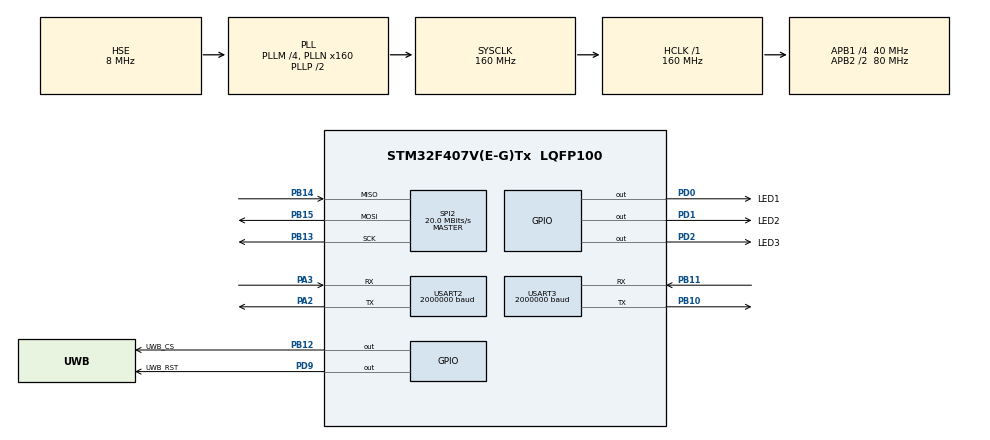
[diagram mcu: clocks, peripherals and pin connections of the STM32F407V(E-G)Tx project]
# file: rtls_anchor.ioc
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Dma.Request0=USART3_RX
Dma.USART3_RX.0.Direction=DMA_PERIPH_TO_MEMORY
Dma.USART3_RX.0.FIFOMode=DMA_FIFOMODE_DISABLE
Dma.USART3_RX.0.Instance=DMA1_Stream1
Dma.USART3_RX.0.MemDataAlignment=DMA_MDATAALIGN_BYTE
Dma.USART3_RX.0.MemInc=DMA_MINC_ENABLE
Dma.USART3_RX.0.Mode=DMA_NORMAL
Dma.USART3_RX.0.PeriphDataAlignment=DMA_PDATAALIGN_BYTE
Dma.USART3_RX.0.PeriphInc=DMA_PINC_DISABLE
Dma.USART3_RX.0.Priority=DMA_PRIORITY_LOW
Mcu.Family=STM32F4
Mcu.Name=STM32F407V(E-G)Tx
Mcu.Package=LQFP100
NVIC.DMA1_Stream1_IRQn=true\:0\:0\:false\:false\:true\:false\:true\:true
NVIC.PriorityGroup=NVIC_PRIORITYGROUP_4
NVIC.USART3_IRQn=true\:0\:0\:false\:false\:true\:true\:true\:true
PA13.Mode=Serial_Wire
PA13.Signal=SYS_JTMS-SWDIO
PA14.Mode=Serial_Wire
PA14.Signal=SYS_JTCK-SWCLK
PA2.Mode=Asynchronous
PA2.Signal=USART2_TX
PA3.Mode=Asynchronous
PA3.Signal=USART2_RX
PB10.Mode=Asynchronous
PB10.Signal=USART3_TX
PB11.Mode=Asynchronous
PB11.Signal=USART3_RX
PB12.GPIO_Label=UWB_CS
PB12.GPIO_Speed=GPIO_SPEED_FREQ_HIGH
PB12.PinState=GPIO_PIN_SET
PB12.Signal=GPIO_Output
PB13.Mode=Full_Duplex_Master
PB13.Signal=SPI2_SCK
PB14.Mode=Full_Duplex_Master
PB14.Signal=SPI2_MISO
PB15.Mode=Full_Duplex_Master
PB15.Signal=SPI2_MOSI
PD0.GPIO_Label=LED1
PD0.GPIO_ModeDefaultOutputPP=GPIO_MODE_OUTPUT_PP
PD0.GPIO_PuPd=GPIO_PULLDOWN
PD0.GPIO_Speed=GPIO_SPEED_FREQ_HIGH
PD0.PinState=GPIO_PIN_RESET
PD0.Signal=GPIO_Output
PD1.GPIO_Label=LED2
PD1.GPIO_ModeDefaultOutputPP=GPIO_MODE_OUTPUT_PP
PD1.GPIO_PuPd=GPIO_NOPULL
PD1.GPIO_Speed=GPIO_SPEED_FREQ_HIGH
PD1.PinState=GPIO_PIN_SET
PD1.Signal=GPIO_Output
PD2.GPIO_Label=LED3
PD2.GPIO_ModeDefaultOutputPP=GPIO_MODE_OUTPUT_PP
PD2.GPIO_PuPd=GPIO_NOPULL
PD2.GPIO_Speed=GPIO_SPEED_FREQ_HIGH
PD2.PinState=GPIO_PIN_SET
PD2.Signal=GPIO_Output
PD9.GPIO_Label=UWB_RST
PD9.GPIO_Speed=GPIO_SPEED_FREQ_HIGH
PD9.PinState=GPIO_PIN_SET
PD9.Signal=GPIO_Output
PH0-OSC_IN.Mode=HSE-External-Oscillator
PH0-OSC_IN.Signal=RCC_OSC_IN
PH1-OSC_OUT.Mode=HSE-External-Oscillator
PH1-OSC_OUT.Signal=RCC_OSC_OUT
ProjectManager.HeapSize=0x200
ProjectManager.StackSize=0x400
ProjectManager.TargetToolchain=STM32CubeIDE
RCC.48MHZClocksFreq_Value=80000000
RCC.AHBFreq_Value=160000000
RCC.APB1CLKDivider=RCC_HCLK_DIV4
RCC.APB1Freq_Value=40000000
RCC.APB1TimFreq_Value=80000000
RCC.APB2CLKDivider=RCC_HCLK_DIV2
RCC.APB2Freq_Value=80000000
RCC.APB2TimFreq_Value=160000000
RCC.CortexFreq_Value=160000000
RCC.HCLKFreq_Value=160000000
RCC.HSE_VALUE=8000000
RCC.HSI_VALUE=16000000
RCC.LSE_VALUE=32768
RCC.PLLM=4
RCC.PLLN=160
RCC.PLLSourceVirtual=RCC_PLLSOURCE_HSE
RCC.SYSCLKFreq_VALUE=160000000
RCC.SYSCLKSource=RCC_SYSCLKSOURCE_PLLCLK
RCC.VCOOutputFreq_Value=320000000
SPI2.BaudRatePrescaler=SPI_BAUDRATEPRESCALER_2
SPI2.CalculateBaudRate=20.0 MBits/s
SPI2.Direction=SPI_DIRECTION_2LINES
SPI2.Mode=SPI_MODE_MASTER
SPI2.VirtualType=VM_MASTER
TIM1.Period=49999
TIM1.Prescaler=319
TIM2.Period=99999
TIM2.Prescaler=79
USART2.BaudRate=2000000
USART2.VirtualMode=VM_ASYNC
USART3.BaudRate=2000000
USART3.VirtualMode=VM_ASYNC
VP_TIM1_VS_ClockSourceINT.Mode=Internal
VP_TIM2_VS_ClockSourceINT.Mode=Internal
board=custom

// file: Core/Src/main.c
/* USER CODE BEGIN Header */
/**
 ******************************************************************************
 * @file           : main.c
 * @brief          : Main program body
 ******************************************************************************
 * @attention
 *
 * Copyright (c) 2023 STMicroelectronics.
 * All rights reserved.
 *
 * This software is licensed under terms that can be found in the LICENSE file
 * in the root directory of this software component.
 * If no LICENSE file comes with this software, it is provided AS-IS.
 *
 ******************************************************************************
 */
/* USER CODE END Header */
#include "main.h"
#include "dma.h"
#include "spi.h"
#include "tim.h"
#include "usart.h"
#include "gpio.h"

/* USER CODE BEGIN Includes */
#include <stdio.h>
#include <string.h>
#include <math.h>
#include <stdlib.h>
#include <stdbool.h>
#include <stdint.h>
#include <stddef.h>
#include "decawave/dw_api.h"
#include "log/log.h"
#include "mac/mac.h"
#include "message_types.h"
#include "rtls_types.h"
#include "uart_types.h"
#include "flash_storage.h"
/* USER CODE END Includes */

/* USER CODE BEGIN PTD */
typedef struct
{
  bool anchorCfg;
  bool anchorSync;
  bool rxBufAvai;
  bool anchorSentBcn;
  uint16_t rxBufSize;
  bool anchorSfSync;
  uint8_t notSyncCnt;
  uint32_t timeSyncRecv;
  uint32_t timeSyncEnd;
  uint32_t timeOffsetStart;
  uint32_t timeOffsetEnd;
  uint8_t locCnt;
  bool kalmanInit;
  double ratio;
  uint32_t testOneCnt;
} systemHandle_t;

typedef struct
{
  uint32_t bcnStart;
  uint32_t bcnSent;
  uint32_t bcnEnd;
  uint32_t pollRecv[TWR_SLOT_TOTAL];
  uint32_t pollEnd[TWR_SLOT_TOTAL];
  uint32_t respStart[TWR_SLOT_TOTAL];
  uint32_t respSent[TWR_SLOT_TOTAL];
  uint32_t respEnd[TWR_SLOT_TOTAL];
  uint32_t locRecv[TWR_SLOT_TOTAL];
  uint32_t locEnd[TWR_SLOT_TOTAL];
  uint32_t uartStart;
  uint32_t uartEnd;
} rtlsTimes_t;
/* USER CODE END PTD */

/* USER CODE BEGIN PD */

#ifdef __GNUC__
int __io_putchar(int ch)
#else
int fputc(int ch, FILE *f)
#endif /* __GNUC__ */
{
  HAL_UART_Transmit(&huart2, (uint8_t *)&ch, 1, 1);
  return ch;
}
//#define TEST
#define DIV 1
#define RX_BEACON_TIMEOUT 600
#define RX_POLL_TIMEOUT 600
#define RX_LOC_TIMEOUT 600
#define RESP_DELAY 360
#define US_TO_DECAWAVE_TICK 63898
/* USER CODE END PD */

/* USER CODE BEGIN PV */
#ifndef TEST
uint8_t anchorBaseAddr[2];
#else
uint8_t anchorBaseAddr[2] = {0x89, 0x03};
#define X 0.0
#define Y 8.43
#endif
systemHandle_t systemHandle = {0};
myAnchorTypes_t myAnchor = {0};
rtlsTimes_t rtlsTimes = {0};

sfInfo_t superframe = {
    .bcnSlotTotal = BCN_SLOT_TOTAL,
    .twrSlotTotal = TWR_SLOT_TOTAL,
    .sfNumberTotal = SF_NUMBER_DEFAULT,
    .sfOffset = 385,
    .bcnSlotCurrent = 0,
    .sfNumberCurrent = 0,
    .twrSlotCurrent = 0,
};

dwDeviceTypes_t device = {
    .extendedFrameLength = FRAME_LENGTH_NORMAL,
    .pacSize = PAC_SIZE_8,
    .pulseFrequency = TX_PULSE_FREQ_64MHZ,
    .dataRate = TRX_RATE_6800KBPS,
    .preambleLength = TX_PREAMBLE_LEN_128,
    .preambleCode = PREAMBLE_CODE_16MHZ_4,
    .channel = CHANNEL_2,
    .smartPower = true,
    .frameCheck = true,
    .permanentReceive = false,
    .deviceMode = IDLE_MODE,
    .forceTxPower = false,
};

uint8_t rxBuffer[512] = {0};
uint8_t rxByte = 0;
int rxIndex = 0;
rxState_t rxState;
/* USER CODE END PV */

void SystemClock_Config(void);

/* USER CODE BEGIN 0 */
void dwInteruptHandler(void)
{
  // dwReadSystemEventStatusRegister(&device);
  if (dwIsTransmitDone(&device))
  {
    dwClearTransmitStatus(&device);
  }
  if (dwIsReceiveTimestampAvailable(&device))
  {
    dwClearReceiveTimestampAvailableStatus(&device);
  }
  if (dwIsReceiveFailed(&device))
  {
    dwClearReceiveStatus(&device);
    dwRxSoftReset(&device);
  }
  if (dwIsReceiveTimeout(&device))
  {
    dwClearReceiveStatus(&device);
    dwRxSoftReset(&device);
  }
  if (dwIsReceiveDone(&device))
  {
    dwClearReceiveStatus(&device);
  }
}

// void HAL_UART_RxCpltCallback(UART_HandleTypeDef *huart)
// {
//   if (rxState == WAIT_START_BYTE)
//   {
//     if (rxByte == '$')
//     {
//       rxState = WAIT_END_BYTE;
//       rxBuffer[rxIndex++] = rxByte;
//       HAL_UART_Receive_IT(&huart3, &rxByte, sizeof(rxByte));
//     }
//     else
//     {
//       memset(rxBuffer, 0, sizeof(rxBuffer));
//       rxIndex = 0;
//       HAL_UART_Receive_IT(&huart3, &rxByte, sizeof(rxByte));
//     }
//   }
//   else
//   {
//     rxBuffer[rxIndex++] = rxByte;
//     if (rxByte == '*')
//     {
//       rxState = WAIT_START_BYTE;
//       systemHandle.rxBufAvai = true;
//     }
//     else
//     {
//       HAL_UART_Receive_IT(&huart3, &rxByte, sizeof(rxByte));
//     }
//   }
// }

void HAL_UART_ErrorCallback(UART_HandleTypeDef *huart)
{
  if (huart->Instance == USART3)
  {
    HAL_UARTEx_ReceiveToIdle_DMA(&huart3, rxBuffer, sizeof(rxBuffer));
    __HAL_DMA_DISABLE_IT(&hdma_usart3_rx, DMA_IT_HT);
  }
}

void HAL_UARTEx_RxEventCallback(UART_HandleTypeDef *huart, uint16_t Size)
{
  if (huart->Instance == USART3)
  {
    systemHandle.rxBufAvai = true;
    systemHandle.rxBufSize = Size;
    HAL_UART_AbortReceive_IT(&huart3);
  }
}

int findAddress(uint8_t *str, uint8_t *sub, int n)
{
  for (int i = 0; i < n; i += 2)
  {
    if (str[i] == sub[0] && str[i + 1] == sub[1])
      return i;
  }
  return -1;
}

int formatCmd(char *info, char *header, char *data, int size)
{
  int k = strlen(header);
  for (int i = 0; i < k; i++)
  {
    info[i] = header[i];
  }
  for (int j = k; j < k + size; j++)
  {
    info[j] = data[j - k];
  }
  info[k + size] = '*';
  return k + size + 1;
}

int formatLocCmd(char *info, char *header, char *data, uint8_t cnt , int size)
{
  int k = strlen(header);
  for (int i = 0; i < k; i++)
  {
    info[i] = header[i];
  }
  for (int j = k; j < k + size; j++)
  {
    info[j] = data[j - k];
  }
  info[k + size] = cnt;
  info[k + size + 1] = '*';
  return k + size + 2;
}

bool compareString(char *src1, char *src2, int len)
{
  for (int i = 0; i < len; i++)
  {
    if (src1[i] != src2[i])
      return false;
  }
  return true;
}

int max(int a, int b)
{
	return (a > b) ? a : b;
}
/* USER CODE END 0 */

int main(void)
{
  /* USER CODE BEGIN 1 */
  beaconHandle_t beaconHandle = {0};
  pollHandle_t pollHandle = {0};
  respHandle_t respHandle = {0};
  locMess_t locMess = {0};
  packet_t beaconPacket = {0};
  packet_t pollPacket = {0};
  packet_t respPacket = {0};
  packet_t locPacket = {0};
  packet_t bufPacket = {0};

  uint32_t bcnTimes[BCN_SLOT_TOTAL] = {0};
  uint32_t twrTimes[TWR_SLOT_TOTAL] = {0};
  uint32_t uartTime = 0;

  rtls_obj_t rtls_obj = {0};
  tagLoc_t tagLoc[TWR_SLOT_TOTAL];
  char all[] = {0xff, 0xff};
  char null[] = {0x00, 0x00};
  /* USER CODE END 1 */

  /* MCU Configuration--------------------------------------------------------*/

  /* Reset of all peripherals, Initializes the Flash interface and the Systick. */
  HAL_Init();

  /* Configure the system clock */
  SystemClock_Config();

  /* Initialize all configured peripherals */
  MX_GPIO_Init();
  MX_DMA_Init();
  MX_SPI2_Init();
  MX_USART2_UART_Init();
  MX_USART3_UART_Init();
  MX_TIM1_Init();
  MX_TIM2_Init();
  /* USER CODE BEGIN 2 */
  logi("ANCHOR START");
  dwInit(&device);
  if (dwConfigure(&device) == DW_ERROR_OK)
  {
    dwEnableAllLeds(&device);
  }
  else
  {
    loge("Configure failed");
    while (1)
      ;
  }
  dwNewConfiguration(&device);
  dwSetDefaults(&device);
  dwCommitConfiguration(&device);

  for (uint32_t i = 0; i < superframe.bcnSlotTotal; i++)
  {
    bcnTimes[i] = SF_BCN_SLOT_TIME * i / DIV;
  }
  for (uint32_t j = 0; j < superframe.twrSlotTotal; j++)
  {
    twrTimes[j] = (SF_TWR_SLOT_TIME * j + SF_BCN_SLOT_TIME * superframe.bcnSlotTotal) / DIV;
  }
  uartTime = (SF_TWR_SLOT_TIME * superframe.twrSlotTotal + SF_BCN_SLOT_TIME * superframe.bcnSlotTotal) / DIV;

#ifndef TEST
  flashReadData(ADDR_FLASH_SECTOR_7, anchorBaseAddr, sizeof(anchorBaseAddr));
  Logi("Read ID: %02x%02x", anchorBaseAddr[0], anchorBaseAddr[1]);
  HAL_UARTEx_ReceiveToIdle_DMA(&huart3, rxBuffer, sizeof(rxBuffer));
  __HAL_DMA_DISABLE_IT(&hdma_usart3_rx, DMA_IT_HT);
  while (!(systemHandle.anchorCfg == true))
  {
    if (systemHandle.rxBufAvai == true)
    {
      memset(&rtls_obj, 0, sizeof(rtls_obj));
      if (strstr(rxBuffer, "id") != NULL)
      {
        Logi("ID: %02x%02x", rxBuffer[3], rxBuffer[4]);
        if (!compareString(anchorBaseAddr, &rxBuffer[3], 2))
        {
          memcpy(anchorBaseAddr, &rxBuffer[3], sizeof(anchorBaseAddr));
          flashWriteData(ADDR_FLASH_SECTOR_7, anchorBaseAddr, sizeof(anchorBaseAddr));
        }
        HAL_UART_Transmit(&huart3, (uint8_t *)rxBuffer, systemHandle.rxBufSize, 100);
      }
      if (strstr(rxBuffer, "cfg_anchor") != NULL)
      {
        Logi("cfg_anchor");
        memcpy((uint8_t *)&rtls_obj.cfg_anchor, &rxBuffer[11], sizeof(rtls_obj.cfg_anchor));
        if (compareString(rtls_obj.cfg_anchor.address, anchorBaseAddr, sizeof(anchorBaseAddr)) && rtls_obj.cfg_anchor.slot < superframe.bcnSlotTotal)
        {
          memcpy(myAnchor.anchorAddress, anchorBaseAddr, sizeof(anchorBaseAddr));
          myAnchor.bcnSlotNumber = rtls_obj.cfg_anchor.slot;
          myAnchor.x.xVal = rtls_obj.cfg_anchor.x.xVal;
          myAnchor.y.yVal = rtls_obj.cfg_anchor.y.yVal;
          myAnchor.anchorCfg = true;
          if (myAnchor.bcnSlotNumber == 0)
          {
            myAnchor.anchorMain = true;
          }
          HAL_UART_Transmit(&huart3, (uint8_t *)rxBuffer, systemHandle.rxBufSize, 100);
        }
      }
      else if (strstr(rxBuffer, "del_anchor") != NULL)
      {
        Logi("del_anchor");
        memcpy((uint8_t *)&rtls_obj.del_anchor, &rxBuffer[11], sizeof(rtls_obj.del_anchor));
        if ((compareString(rtls_obj.del_anchor.address, myAnchor.anchorAddress, sizeof(myAnchor.anchorAddress)) && rtls_obj.del_anchor.slot == myAnchor.bcnSlotNumber) || compareString(rtls_obj.del_anchor.address, all, sizeof(all)))
        {
          memset(&myAnchor, 0, sizeof(myAnchor));
          HAL_UART_Transmit(&huart3, (uint8_t *)rxBuffer, systemHandle.rxBufSize, 100);
        }
      }
      else if (strstr(rxBuffer, "cfg_superframe") != NULL)
      {
        Logi("cfg_superframe");
        memcpy((uint8_t *)&rtls_obj.cfg_sf, &rxBuffer[15], sizeof(rtls_obj.cfg_sf));
        if (compareString(rtls_obj.cfg_sf.address, anchorBaseAddr, sizeof(anchorBaseAddr)) || compareString(rtls_obj.cfg_sf.address, all, sizeof(all)))
        {
          if (rtls_obj.cfg_sf.sf_num <= 5 && rtls_obj.cfg_sf.sf_num >= 1)
          {
            superframe.sfNumberTotal = rtls_obj.cfg_sf.sf_num;
            HAL_UART_Transmit(&huart3, (uint8_t *)rxBuffer, systemHandle.rxBufSize, 100);
          }
        }
      }
      else if (strstr(rxBuffer, "start") != NULL)
      {
        Logi("start");
        if (myAnchor.anchorCfg == true)
        {
          systemHandle.anchorCfg = true;
          HAL_UART_Transmit(&huart3, (uint8_t *)rxBuffer, systemHandle.rxBufSize, 100);
        }
      }
      else if (strstr(rxBuffer, "get_info") != NULL)
      {
        Logi("get_info");
        memset(rxBuffer, 0, sizeof(rxBuffer));
        rtls_obj.info.bcnSlotTotal = superframe.bcnSlotTotal;
        rtls_obj.info.sfNumberTotal = superframe.sfNumberTotal;
        rtls_obj.info.twrSlotTotal = superframe.twrSlotTotal;
        memcpy(rtls_obj.info.anchorInfo.address, myAnchor.anchorAddress, sizeof(myAnchor.anchorAddress));
        rtls_obj.info.anchorInfo.slot = myAnchor.bcnSlotNumber;
        rtls_obj.info.anchorInfo.x.xVal = myAnchor.x.xVal;
        rtls_obj.info.anchorInfo.y.yVal = myAnchor.y.yVal;
        int len = formatCmd((char *)rxBuffer, "$get_info", (char *)&rtls_obj.info, sizeof(rtls_obj.info));
        HAL_UART_Transmit(&huart3, (uint8_t *)rxBuffer, len, 100);
      }
      memset(rxBuffer, 0, sizeof(rxBuffer));
      HAL_UARTEx_ReceiveToIdle_DMA(&huart3, rxBuffer, sizeof(rxBuffer));
      __HAL_DMA_DISABLE_IT(&hdma_usart3_rx, DMA_IT_HT);
      systemHandle.rxBufAvai = false;
    }
  }
  HAL_UARTEx_ReceiveToIdle_DMA(&huart3, rxBuffer, sizeof(rxBuffer));
  __HAL_DMA_DISABLE_IT(&hdma_usart3_rx, DMA_IT_HT);
#endif

#ifdef TEST
  myAnchor.anchorCfg = true;
  if (anchorBaseAddr[1] == 0x00)
  {
    myAnchor.anchorMain = true;
    memcpy(myAnchor.anchorAddress, anchorBaseAddr, sizeof(anchorBaseAddr));
    myAnchor.bcnSlotNumber = 0;
    myAnchor.x.xVal = X;
    myAnchor.y.yVal = Y;
  }
  else
  {
    myAnchor.anchorMain = false;
    memcpy(myAnchor.anchorAddress, anchorBaseAddr, sizeof(anchorBaseAddr));
    myAnchor.bcnSlotNumber = anchorBaseAddr[1];
    myAnchor.x.xVal = X;
    myAnchor.y.yVal = Y;
  }
#endif

  TIM2->CNT = 0;
  HAL_TIM_Base_Start(&htim2);
  /* USER CODE END 2 */

  /* Infinite loop */
  while (1)
  {

    /* USER CODE BEGIN 3 */
    if (myAnchor.anchorMain == true)
    {
      systemHandle.anchorSync = true;
    }
    if (!systemHandle.anchorSync)
    {
      // Sync clock
      dwNewReceive(&device);
      dwSetDefaults(&device);
      dwStartReceive(&device);
      do
      {
        dwReadSystemEventStatusRegister(&device);
      } while (!((device.sysstatus[1] & (((1 << RXDFR_BIT) | (1 << RXFCG_BIT)) >> 8)) || (device.sysstatus[2] & ((1 << RXRFTO_BIT) >> 16))));
      if (device.sysstatus[1] & (((1 << RXDFR_BIT) | (1 << RXFCG_BIT)) >> 8))
      {
        systemHandle.timeSyncRecv = TIM2->CNT;
        dwInteruptHandler();
        memset(&bufPacket, 0, sizeof(bufPacket));
        int length = dwGetDataLength(&device);
        if (length > 0)
        {
          dwGetData(&device, (uint8_t *)&bufPacket, length);
          if (bufPacket.payload[BEAC_ID] == TYPE_BEAC)
          {
            uint8_t bcnSlotNum = bufPacket.payload[BEAC_BCN_SLOT_NUM];
            uint8_t sfNumCurrent = bufPacket.payload[BEAC_SF_NUM];
            if (bcnSlotNum < superframe.bcnSlotTotal && sfNumCurrent < superframe.sfNumberTotal)
            {
              systemHandle.timeSyncEnd = TIM2->CNT;
              if (systemHandle.timeSyncEnd > systemHandle.timeSyncRecv)
              {
                TIM2->CNT = bcnTimes[bcnSlotNum] + superframe.sfOffset + systemHandle.timeSyncEnd - systemHandle.timeSyncRecv;
              }
              else
              {
                TIM2->CNT = bcnTimes[bcnSlotNum] + superframe.sfOffset + systemHandle.timeSyncEnd + 100000 / DIV - systemHandle.timeSyncRecv;
              }
              superframe.sfNumberCurrent = sfNumCurrent;
              systemHandle.anchorSync = true;
              systemHandle.notSyncCnt = 0;
            }
          }
        }
      }
      else
      {
        dwInteruptHandler();
      }
    }
    else
    {
      // New superframe
      while (!((TIM2->CNT > 0) && (TIM2->CNT < 10)))
        ;
      if (superframe.sfNumberCurrent == superframe.sfNumberTotal - 1)
      {
        superframe.sfNumberCurrent = 0;
      }
      else
      {
        superframe.sfNumberCurrent++;
      }
      memset(&beaconHandle, 0, sizeof(beaconHandle));
      if (myAnchor.extCnt > 0)
      {
        // Add extend part into Beacon Message
        if (myAnchor.bcnFlag == PROV_TAG)
        {
          beaconHandle.beaconMess.flag = (1 << PROV_TAG);
          memcpy(beaconHandle.beaconMess.beaconExt.tagAddr, rtls_obj.cfg_tag.address, sizeof(rtls_obj.cfg_tag.address));
          beaconHandle.beaconMess.beaconExt.twrSlotNumber = rtls_obj.cfg_tag.slot;
        }
        else if (myAnchor.bcnFlag == DEL_TAG)
        {
          beaconHandle.beaconMess.flag = (1 << DEL_TAG);
          memcpy(beaconHandle.beaconMess.beaconExt.tagAddr, rtls_obj.del_tag.address, sizeof(rtls_obj.del_tag.address));
          beaconHandle.beaconMess.beaconExt.twrSlotNumber = rtls_obj.del_tag.slot;
        }
        myAnchor.extCnt--;
        if (myAnchor.extCnt == 0)
        {
          if (myAnchor.bcnFlag == PROV_TAG)
          {
            memset(&rtls_obj.cfg_tag, 0, sizeof(rtls_obj.cfg_tag));
            myAnchor.bcnFlag = NONE;
          }
          else if (myAnchor.bcnFlag == DEL_TAG)
          {
            memset(&rtls_obj.del_tag, 0, sizeof(rtls_obj.del_tag));
            myAnchor.bcnFlag = NONE;
          }
        }
      }
      else
      {
        beaconHandle.beaconMess.flag = 0;
      }
      if (myAnchor.anchorMain)
      {
        rtlsTimes.bcnStart = TIM2->CNT;
        systemHandle.testOneCnt++;
        // Anchor Main
        while (TIM2->CNT < 100 / DIV)
          ;
        beaconHandle.beaconMess.messID = TYPE_BEAC;
        beaconHandle.beaconMess.sfNumber = superframe.sfNumberCurrent;
        beaconHandle.beaconMess.bcnSlotNumber = 0;
        memset(&beaconPacket, 0, sizeof(beaconPacket));
        MAC80215_PACKET_INIT(beaconPacket, MAC802154_TYPE_DATA);
        memset(beaconPacket.destAddress, 0xFF, 2);
        memcpy(beaconPacket.sourceAddress, myAnchor.anchorAddress, sizeof(myAnchor.anchorAddress));
        memcpy(beaconPacket.payload, (uint8_t *)&beaconHandle.beaconMess, sizeof(beaconHandle.beaconMess));
        dwNewTransmit(&device);
        dwSetDefaults(&device);
        dwSetData(&device, (uint8_t *)&beaconPacket, MAC802154_HEADER_LENGTH + sizeof(beaconHandle.beaconMess));
        dwStartTransmit(&device, false);
        do
        {
          dwReadSystemEventStatusRegister(&device);
        } while (!(device.sysstatus[0] & (1 << TXFRS_BIT)));
        rtlsTimes.bcnSent = TIM2->CNT;
        dwInteruptHandler();
        rtlsTimes.bcnEnd = TIM2->CNT;
      }
      else
      {
        superframe.bcnSlotCurrent = 0;
        systemHandle.anchorSfSync = false;
        while (superframe.bcnSlotCurrent < superframe.bcnSlotTotal)
        {
          while (TIM2->CNT < bcnTimes[superframe.bcnSlotCurrent])
            ;
          if (myAnchor.bcnSlotNumber == superframe.bcnSlotCurrent)
          {
		    rtlsTimes.bcnStart = TIM2->CNT;
            while (TIM2->CNT < (bcnTimes[superframe.bcnSlotCurrent] + 100 / DIV))
              ;
            beaconHandle.beaconMess.messID = TYPE_BEAC;
            beaconHandle.beaconMess.sfNumber = superframe.sfNumberCurrent;
            beaconHandle.beaconMess.bcnSlotNumber = superframe.bcnSlotCurrent;
            memset(&beaconPacket, 0, sizeof(beaconPacket));
            MAC80215_PACKET_INIT(beaconPacket, MAC802154_TYPE_DATA);
            memset(beaconPacket.destAddress, 0xFF, 2);
            memcpy(beaconPacket.sourceAddress, myAnchor.anchorAddress, sizeof(myAnchor.anchorAddress));
            memcpy(beaconPacket.payload, (uint8_t *)&beaconHandle.beaconMess, sizeof(beaconHandle.beaconMess));
            dwNewTransmit(&device);
            dwSetDefaults(&device);
            dwSetData(&device, (uint8_t *)&beaconPacket, MAC802154_HEADER_LENGTH + sizeof(beaconHandle.beaconMess));
            dwStartTransmit(&device, false);
            do
            {
              dwReadSystemEventStatusRegister(&device);
            } while (!(device.sysstatus[0] & (1 << TXFRS_BIT)));
            rtlsTimes.bcnSent = TIM2->CNT;
            dwInteruptHandler();
            rtlsTimes.bcnEnd = TIM2->CNT;
          }
          else if (systemHandle.anchorSfSync == false)
          {
            dwSetReceiveWaitTimeout(&device, RX_BEACON_TIMEOUT);
            dwWriteSystemConfigurationRegister(&device);
            dwNewReceive(&device);
            dwSetDefaults(&device);
            dwStartReceive(&device);
            do
            {
              dwReadSystemEventStatusRegister(&device);
            } while (!((device.sysstatus[1] & (((1 << RXDFR_BIT) | (1 << RXFCG_BIT)) >> 8)) || (device.sysstatus[2] & ((1 << RXRFTO_BIT) >> 16))));
            systemHandle.timeSyncRecv = TIM2->CNT;
            dwInteruptHandler();
            if (device.sysstatus[1] & (((1 << RXDFR_BIT) | (1 << RXFCG_BIT)) >> 8))
            {
              int length = dwGetDataLength(&device);
              if (length > 0)
              {
                memset(&beaconPacket, 0, sizeof(beaconPacket));
                dwGetData(&device, (uint8_t *)&beaconPacket, length);
                if (beaconPacket.payload[BEAC_ID] == TYPE_BEAC)
                {
                  //				  double error = (double)systemHandle.timeSyncRecv - (double)superframe.sfOffset;
                  //				  systemHandle.ratio *= 1.0 + error / 100000.0;
                  //				  uint32_t arr = TIM2->ARR;
                  //				  arr *= systemHandle.ratio;
                  //				  TIM2->ARR = arr;
                  //				  for (uint32_t i = 0; i < superframe.bcnSlotTotal; i++)
                  //				  {
                  //				    bcnTimes[i] *= systemHandle.ratio;
                  //				  }
                  //				  for (uint32_t j = 0; j < superframe.twrSlotTotal; j++)
                  //				  {
                  //				    twrTimes[j] *= systemHandle.ratio;
                  //				  }
                  //				  uartTime *= systemHandle.ratio;
                  systemHandle.timeSyncEnd = TIM2->CNT;
                  if (systemHandle.anchorSfSync == false)
                  {
                	systemHandle.testOneCnt++;
                    if (systemHandle.timeSyncEnd > systemHandle.timeSyncRecv)
                    {
                      TIM2->CNT = bcnTimes[beaconPacket.payload[BEAC_BCN_SLOT_NUM]] + superframe.sfOffset + (systemHandle.timeSyncEnd - systemHandle.timeSyncRecv);
                    }
                    else
                    {
                      TIM2->CNT = bcnTimes[beaconPacket.payload[BEAC_BCN_SLOT_NUM]] + superframe.sfOffset + (systemHandle.timeSyncEnd + 100000 / DIV - systemHandle.timeSyncRecv);
                    }
                    systemHandle.anchorSfSync = true;
                  }
                  // memset(&beaconHandle, 0, sizeof(beaconHandle));
                  // memcpy(&beaconHandle.beaconMess, beaconPacket.payload, sizeof(beaconHandle.beaconMess));
                }
              }
            }
            else
            {
            }
          }
          superframe.bcnSlotCurrent++;
        }
        if (systemHandle.anchorSfSync == true)
        {
          systemHandle.notSyncCnt = 0;
        }
        else
        {
          systemHandle.notSyncCnt++;
          if (systemHandle.notSyncCnt >= 5)
          {
            systemHandle.anchorSync = false;
          }
        }
      }
      // TWR
      superframe.twrSlotCurrent = 0;
      systemHandle.locCnt = 0;
      memset(tagLoc, 0, superframe.twrSlotTotal * sizeof(tagLoc_t));
      while (superframe.twrSlotCurrent < superframe.twrSlotTotal)
      {
        while (TIM2->CNT < twrTimes[superframe.twrSlotCurrent])
          ;
        dwSetReceiveWaitTimeout(&device, RX_POLL_TIMEOUT);
        dwWriteSystemConfigurationRegister(&device);
        dwNewReceive(&device);
        dwSetDefaults(&device);
        dwStartReceive(&device);
        do
        {
          dwReadSystemEventStatusRegister(&device);
        } while (!((device.sysstatus[1] & (((1 << RXDFR_BIT) | (1 << RXFCG_BIT)) >> 8)) || (device.sysstatus[2] & ((1 << RXRFTO_BIT) >> 16))));
        rtlsTimes.pollRecv[superframe.twrSlotCurrent] = TIM2->CNT;
        dwInteruptHandler();
        if (device.sysstatus[1] & (((1 << RXDFR_BIT) | (1 << RXFCG_BIT)) >> 8))
        {
          int length = dwGetDataLength(&device);
          if (length > 0)
          {
            memset(&pollPacket, 0, sizeof(pollPacket));
            dwGetData(&device, (uint8_t *)&pollPacket, length);
            if (pollPacket.payload[POLL_ID] == TYPE_POLL)
            {
              memset(&pollHandle, 0, sizeof(pollHandle));
              memcpy(&pollHandle.pollMess, pollPacket.payload, sizeof(pollHandle.pollMess));
              int myAddrIndex = findAddress(pollHandle.pollMess.anchorAddr, myAnchor.anchorAddress, sizeof(pollHandle.pollMess.anchorAddr));
              if (myAddrIndex != -1)
              {
                // Have my address
                dwGetReceiveTimestamp(&device, &pollHandle.timestamp);
                int myRespIndex = myAddrIndex / 2;
                rtlsTimes.pollEnd[superframe.twrSlotCurrent] = TIM2->CNT;
                while (TIM2->CNT < twrTimes[superframe.twrSlotCurrent] + (SF_POLL_SLOT_TIME + myRespIndex * SF_RESP_SLOT_TIME + 100) / DIV)
                  ;
                rtlsTimes.respStart[superframe.twrSlotCurrent] = TIM2->CNT;
                memset(&respPacket, 0, sizeof(respPacket));
                memset(&respHandle, 0, sizeof(respHandle));
                MAC80215_PACKET_INIT(respPacket, MAC802154_TYPE_DATA);
                memcpy(respPacket.destAddress, pollPacket.sourceAddress, sizeof(pollPacket.sourceAddress));
                memcpy(respPacket.sourceAddress, myAnchor.anchorAddress, sizeof(myAnchor.anchorAddress));
                respHandle.respMess.messID = TYPE_RESP;
                respHandle.respMess.x.xVal = myAnchor.x.xVal;
                respHandle.respMess.y.yVal = myAnchor.y.yVal;
                memcpy(respHandle.respMess.rxTimestamp.timeRaw, pollHandle.timestamp.timeRaw, sizeof(pollHandle.timestamp.timeRaw));
                uint64_t delayTx = US_TO_DECAWAVE_TICK * RESP_DELAY;
                respHandle.timestamp.timeFull = dwSetTxDelay(&device, delayTx);
                memcpy(respHandle.respMess.txTimestamp.timeRaw, respHandle.timestamp.timeRaw, sizeof(respHandle.timestamp.timeRaw));
                memcpy(respPacket.payload, (uint8_t *)&respHandle.respMess, sizeof(respHandle.respMess));
                dwNewTransmit(&device);
                dwSetDefaults(&device);
                dwSetData(&device, (uint8_t *)&respPacket, MAC802154_HEADER_LENGTH + sizeof(respHandle.respMess));
                dwStartTransmit(&device, true);
                do
                {
                  dwReadSystemEventStatusRegister(&device);
                } while (!(device.sysstatus[0] & (1 << TXFRS_BIT)));
                rtlsTimes.respSent[superframe.twrSlotCurrent] = TIM2->CNT;
                dwInteruptHandler();
                rtlsTimes.respEnd[superframe.twrSlotCurrent] = TIM2->CNT;
                while (TIM2->CNT < twrTimes[superframe.twrSlotCurrent] + (SF_POLL_SLOT_TIME + 4 * SF_RESP_SLOT_TIME) / DIV)
                  ;
                dwSetReceiveWaitTimeout(&device, RX_LOC_TIMEOUT);
                dwWriteSystemConfigurationRegister(&device);
                dwNewReceive(&device);
                dwSetDefaults(&device);
                dwStartReceive(&device);
                do
                {
                  dwReadSystemEventStatusRegister(&device);
                } while (!((device.sysstatus[1] & (((1 << RXDFR_BIT) | (1 << RXFCG_BIT)) >> 8)) || (device.sysstatus[2] & ((1 << RXRFTO_BIT) >> 16))));
                rtlsTimes.locRecv[superframe.twrSlotCurrent] = TIM2->CNT;
                dwInteruptHandler();
                if (device.sysstatus[1] & (((1 << RXDFR_BIT) | (1 << RXFCG_BIT)) >> 8))
                {
                  int length = dwGetDataLength(&device);
                  if (length > 0)
                  {
                    memset(&locPacket, 0, sizeof(locPacket));
                    memset(&locMess, 0, sizeof(locMess));
                    dwGetData(&device, (uint8_t *)&locPacket, length);

                    if (locPacket.payload[LOC_ID] == TYPE_LOC && memcmp(locPacket.destAddress, myAnchor.anchorAddress, sizeof(myAnchor.anchorAddress)) == 0)
                    {
                      memcpy((uint8_t *)&locMess, locPacket.payload, sizeof(locMess));
                      memcpy(tagLoc[systemHandle.locCnt].tagAddress, locPacket.sourceAddress, sizeof(locPacket.sourceAddress));
                      tagLoc[systemHandle.locCnt].twrSlotNumber = locMess.twrSlotNumber;
                      tagLoc[systemHandle.locCnt].x.xVal = locMess.x.xVal;
                      tagLoc[systemHandle.locCnt].y.yVal = locMess.y.yVal;
                      systemHandle.locCnt++;
                    }
                  }
                  rtlsTimes.locEnd[superframe.twrSlotCurrent] = TIM2->CNT;
                }
                else
                {
                	rtlsTimes.locEnd[superframe.twrSlotCurrent] = TIM2->CNT;
                }
              }
            }
          }
        }
        else
        {
        	rtlsTimes.pollEnd[superframe.twrSlotCurrent] = TIM2->CNT;
        }
        superframe.twrSlotCurrent++;
      }
      // UART
      while (TIM2->CNT < uartTime)
        ;
      rtlsTimes.uartStart = TIM2->CNT;
      if (systemHandle.locCnt > 0)
      {
        uint8_t *tagPayload = calloc(sizeof(tagLoc_t) * systemHandle.locCnt + 20, sizeof(uint8_t));
        int len = formatLocCmd((char *)tagPayload, "$location", (char *)tagLoc, systemHandle.locCnt, sizeof(tagLoc_t) * systemHandle.locCnt);
        HAL_UART_Transmit(&huart3, tagPayload, len, 1000);
        free(tagPayload);
      }
      if (systemHandle.rxBufAvai == true)
      {
        if (strstr(rxBuffer, "stop") != NULL)
        {
          HAL_UART_Transmit(&huart3, (uint8_t *)rxBuffer, systemHandle.rxBufSize, 100);
          HAL_NVIC_SystemReset();
        }
        else if (strstr(rxBuffer, "cfg_tag") != NULL)
        {
          if (myAnchor.bcnFlag == NONE)
          {
            myAnchor.bcnFlag = PROV_TAG;
            myAnchor.extCnt = 5;
            memcpy((uint8_t *)&rtls_obj.cfg_tag, &rxBuffer[8], sizeof(rtls_obj.cfg_tag));
            HAL_UART_Transmit(&huart3, (uint8_t *)rxBuffer, systemHandle.rxBufSize, 100);
          }
        }
        else if (strstr(rxBuffer, "del_tag") != NULL)
        {
          myAnchor.bcnFlag = DEL_TAG;
          myAnchor.extCnt = 5;
          memcpy((uint8_t *)&rtls_obj.del_tag, &rxBuffer[8], sizeof(rtls_obj.del_tag));
          HAL_UART_Transmit(&huart3, (uint8_t *)rxBuffer, systemHandle.rxBufSize, 100);
        }
        else if (strstr(rxBuffer, "get_info") != NULL)
        {
          memset(rxBuffer, 0, sizeof(rxBuffer));
          rtls_obj.info.bcnSlotTotal = superframe.bcnSlotTotal;
          rtls_obj.info.sfNumberTotal = superframe.sfNumberTotal;
          rtls_obj.info.twrSlotTotal = superframe.twrSlotTotal;
          memcpy(rtls_obj.info.anchorInfo.address, myAnchor.anchorAddress, sizeof(myAnchor.anchorAddress));
          rtls_obj.info.anchorInfo.slot = myAnchor.bcnSlotNumber;
          rtls_obj.info.anchorInfo.x.xVal = myAnchor.x.xVal;
          rtls_obj.info.anchorInfo.y.yVal = myAnchor.y.yVal;
          int len = formatCmd((char *)rxBuffer, "$get_info", (char *)&rtls_obj.info, sizeof(rtls_obj.info));
          HAL_UART_Transmit(&huart3, (uint8_t *)rxBuffer, len, 100);
        }
        else if (strstr(rxBuffer, "get_test") != NULL)
        {
        	memset(rxBuffer, 0, sizeof(rxBuffer));
        	sprintf(rxBuffer, "$get_test%d*", systemHandle.testOneCnt);
        	HAL_UART_Transmit(&huart3, (uint8_t *)rxBuffer, strlen(rxBuffer), 100);
        }
        memset(rxBuffer, 0, sizeof(rxBuffer));
        HAL_UARTEx_ReceiveToIdle_DMA(&huart3, rxBuffer, sizeof(rxBuffer));
        __HAL_DMA_DISABLE_IT(&hdma_usart3_rx, DMA_IT_HT);
        systemHandle.rxBufAvai = false;
      }
      rtlsTimes.uartEnd = TIM2->CNT;
    }
  }
  /* USER CODE END 3 */
}

void SystemClock_Config(void)
{
  RCC_OscInitTypeDef RCC_OscInitStruct = {0};
  RCC_ClkInitTypeDef RCC_ClkInitStruct = {0};

  /** Configure the main internal regulator output voltage
   */
  __HAL_RCC_PWR_CLK_ENABLE();
  __HAL_PWR_VOLTAGESCALING_CONFIG(PWR_REGULATOR_VOLTAGE_SCALE1);

  /** Initializes the RCC Oscillators according to the specified parameters
   * in the RCC_OscInitTypeDef structure.
   */
  RCC_OscInitStruct.OscillatorType = RCC_OSCILLATORTYPE_HSE;
  RCC_OscInitStruct.HSEState = RCC_HSE_ON;
  RCC_OscInitStruct.PLL.PLLState = RCC_PLL_ON;
  RCC_OscInitStruct.PLL.PLLSource = RCC_PLLSOURCE_HSE;
  RCC_OscInitStruct.PLL.PLLM = 4;
  RCC_OscInitStruct.PLL.PLLN = 160;
  RCC_OscInitStruct.PLL.PLLP = RCC_PLLP_DIV2;
  RCC_OscInitStruct.PLL.PLLQ = 4;
  if (HAL_RCC_OscConfig(&RCC_OscInitStruct) != HAL_OK)
  {
    Error_Handler();
  }

  /** Initializes the CPU, AHB and APB buses clocks
   */
  RCC_ClkInitStruct.ClockType = RCC_CLOCKTYPE_HCLK | RCC_CLOCKTYPE_SYSCLK | RCC_CLOCKTYPE_PCLK1 | RCC_CLOCKTYPE_PCLK2;
  RCC_ClkInitStruct.SYSCLKSource = RCC_SYSCLKSOURCE_PLLCLK;
  RCC_ClkInitStruct.AHBCLKDivider = RCC_SYSCLK_DIV1;
  RCC_ClkInitStruct.APB1CLKDivider = RCC_HCLK_DIV4;
  RCC_ClkInitStruct.APB2CLKDivider = RCC_HCLK_DIV2;

  if (HAL_RCC_ClockConfig(&RCC_ClkInitStruct, FLASH_LATENCY_5) != HAL_OK)
  {
    Error_Handler();
  }
}

void Error_Handler(void)
{
  __disable_irq();
  while (1)
  {
  }
}
